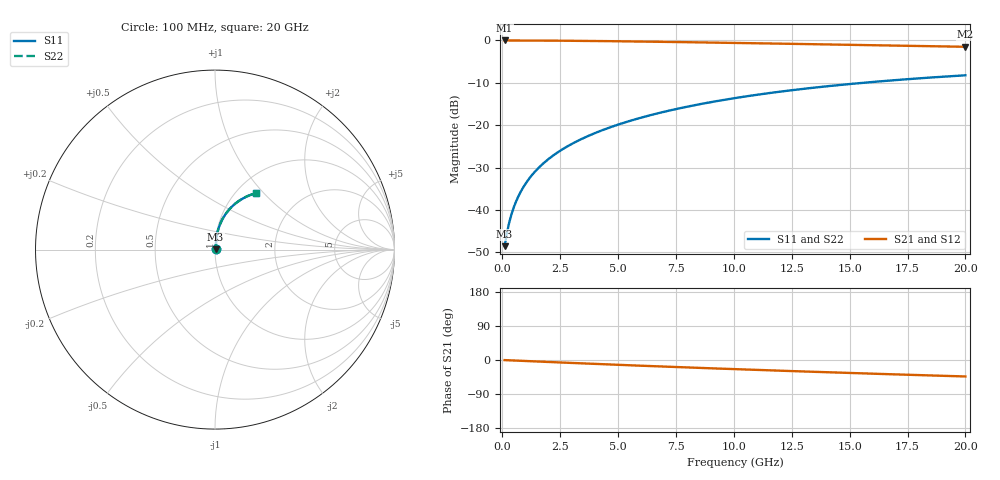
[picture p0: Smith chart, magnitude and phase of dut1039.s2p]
! Touchstone file exported from HFSS 2024.1.0
!  File:  C:/UserFiles/LocalFiles/RDL_TSV_Batchsim/temp_RDL_bottom_1039_1780051496.aedt
!  Generated:  06:47:13 PM May 29, 2026
!  Design:  RDL_bottom
!  Project:  temp_RDL_bottom_1039_1780051496
!  Setup:  Setup1
!  Solution:  Sweep
! Variables:
!  dtsv = 10.80580581um
!  hbump = 3um
!  htsv = 87.54um
!  ldown = 617.97um
!  lrdl = 100um
!  p = 40
!  p1 = 49.39um
!  rhole = 1um
!  t = 450um
!  tdown = 3.62um
!  trdl = 3.915915916um
!  wdown = 21.09um
!  wrdl = 20um
# GHz S MA R 50.000000
! Terminal data exported
! Port[1] = RDL1_T1
! Port[2] = RDL1_T2
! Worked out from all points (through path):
!   200 points, 100 MHz to 20 GHz, reference 50 ohm
!   highest |S21| = -0.03 dB at 100 MHz (marker M1); lowest = -1.5 dB at 20 GHz (marker M2)
!   group delay of S21, straight-line fit = 6 ps
!   lowest |S11| = -48.5 dB at 100 MHz (marker M3), VSWR 1.01, Z = 50.3 + j0.219 ohm
!   |S11| at or under -10 dB: start of sweep to 15.6 GHz
!   |S22| runs from -48.5 to -8.2 dB; largest |S21 - S12| = 3.4e-15
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0.1  0.003752 35.5  0.9969 -0.3  0.9969 -0.3  0.003752 35.5
! Gamma 0 0 0 0
! Port Impedance 50 0 50 0
0.2  0.005348 53.2  0.9968 -0.5  0.9968 -0.5  0.005348 53.2
0.3  0.007147 61.9  0.9966 -0.8  0.9966 -0.8  0.007147 61.9
0.4  0.008989 67.0  0.9964 -1.1  0.9964 -1.1  0.008988 67.0
0.5  0.01085 70.5  0.9962 -1.3  0.9962 -1.3  0.01085 70.5
0.6  0.01272 72.9  0.996 -1.6  0.996 -1.6  0.01272 72.9
0.8  0.01651 76.3  0.9957 -2.1  0.9957 -2.1  0.01651 76.3
1.1  0.02229 79.2  0.9951 -2.9  0.9951 -2.9  0.02229 79.2
1.3  0.02618 80.4  0.9946 -3.4  0.9946 -3.4  0.02618 80.4
1.6  0.03207 81.5  0.9938 -4.2  0.9938 -4.2  0.03207 81.6
2.1  0.04198 82.6  0.9921 -5.5  0.9921 -5.5  0.04198 82.6
2.7  0.05403 83.0  0.9895 -7.0  0.9895 -7.0  0.05404 83.0
3.5  0.07034 82.9  0.9853 -9.0  0.9853 -9.0  0.07036 82.9
4.2  0.08483 82.4  0.981 -10.8  0.981 -10.8  0.08485 82.4
5  0.1016 81.6  0.9755 -12.7  0.9755 -12.7  0.1016 81.6
6.8  0.1399 79.0  0.9613 -17.0  0.9613 -17.0  0.14 79.1
8.4  0.174 76.3  0.9475 -20.6  0.9475 -20.6  0.1742 76.3
10.1  0.2098 73.1  0.9321 -24.3  0.9321 -24.3  0.21 73.1
11.7  0.2425 70.0  0.9172 -27.6  0.9172 -27.6  0.2427 70.0
13.4  0.2758 66.6  0.9012 -31.1  0.9012 -31.1  0.2761 66.6
16.7  0.3353 60.2  0.8701 -37.5  0.8701 -37.5  0.3356 60.2
20  0.3873 54.0  0.8395 -43.5  0.8395 -43.5  0.3877 54.1
